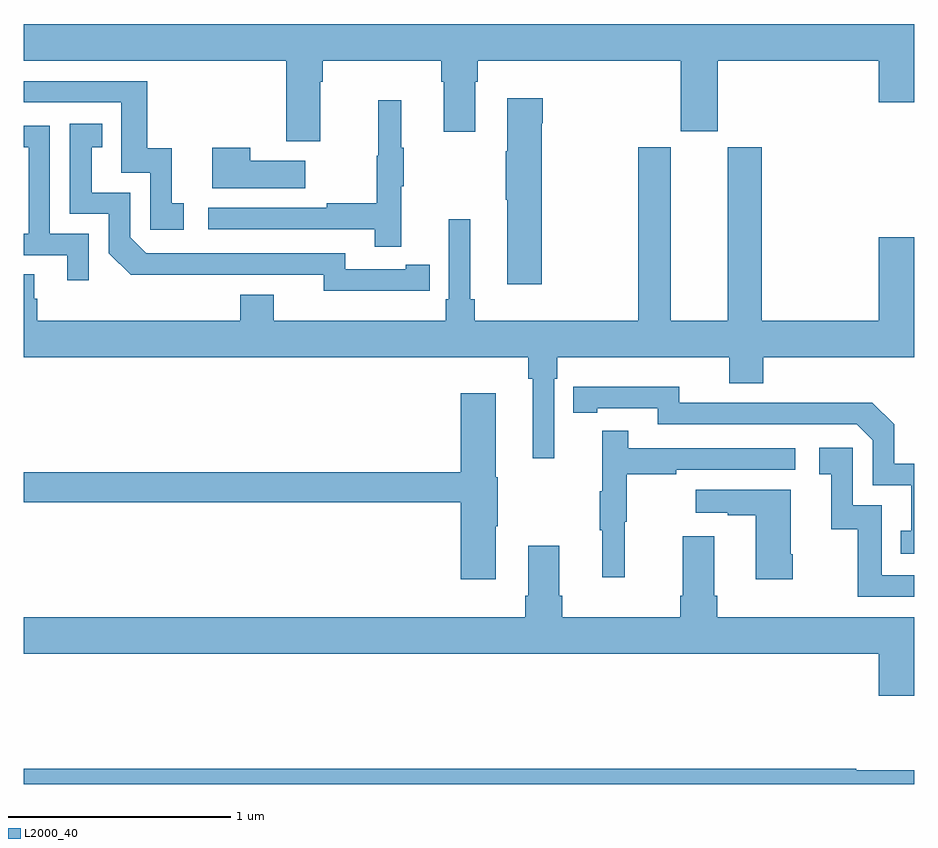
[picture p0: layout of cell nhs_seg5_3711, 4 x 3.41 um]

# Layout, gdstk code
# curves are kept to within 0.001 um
import gdstk
lib = gdstk.Library(unit=1e-6, precision=1e-09)
def P(c, l, *ps):  # polygons
    for p in ps: c.add(gdstk.Polygon(p, *l))
L2000_40 = (2000, 40)

nhs_seg5_3711 = lib.new_cell('nhs_seg5_3711')
P(nhs_seg5_3711, L2000_40, [(330.331,901.952),(330.344,901.952),(330.344,902.048),(330.875,902.048),(330.875,901.952),(330.887,901.952),(330.887,901.728),(331.027,901.728),(331.027,901.952),(331.04,901.952),(331.04,902.048),(331.952,902.048),(331.952,901.731),(332.116,901.731),(332.116,902.048),(332.84,902.048),(332.84,901.86),(333,901.86),(333,902.212),(329,902.212),(329,902.048),(330.179,902.048),(330.179,901.686),(330.331,901.686)],
  [(329.719,901.407),(329.666,901.407),(329.666,901.654),(329.555,901.654),(329.555,901.956),(329,901.956),(329,901.86),(329.439,901.86),(329.439,901.545),(329.568,901.545),(329.568,901.287),(329.719,901.287)],
  [(331.326,901.766),(331.331,901.766),(331.331,901.879),(331.172,901.879),(331.172,901.64),(331.165,901.64),(331.165,901.423),(331.172,901.423),(331.172,901.044),(331.326,901.044)],
  [(330.695,901.483),(330.706,901.483),(330.706,901.657),(330.695,901.657),(330.695,901.87),(330.592,901.87),(330.592,901.62),(330.585,901.62),(330.585,901.406),(330.361,901.406),(330.361,901.386),(329.829,901.386),(329.829,901.29),(330.577,901.29),(330.577,901.212),(330.695,901.212)],
  [(330.716,901.014),(330.824,901.014),(330.824,901.13),(330.716,901.13),(330.716,901.11),(330.444,901.11),(330.444,901.182),(329.55,901.182),(329.478,901.254),(329.478,901.455),(329.305,901.455),(329.305,901.659),(329.354,901.659),(329.354,901.765),(329.208,901.765),(329.208,901.359),(329.382,901.359),(329.382,901.182),(329.48,901.085),(330.348,901.086),(330.348,901.013)],
  [(329.292,901.269),(329.118,901.269),(329.118,901.755),(329,901.755),(329,901.658),(329.022,901.658),(329.022,901.269),(329,901.269),(329,901.173),(329.195,901.173),(329.195,901.062),(329.292,901.062)],
  [(331.383,900.62),(331.397,900.62),(331.397,900.716),(332.168,900.716),(332.168,900.599),(332.321,900.599),(332.321,900.716),(333,900.716),(333,901.255),(332.84,901.255),(332.84,900.88),(332.315,900.88),(332.315,901.659),(332.162,901.659),(332.162,900.88),(331.906,900.88),(331.906,901.659),(331.759,901.659),(331.759,900.88),(331.025,900.88),(331.025,900.976),(331.006,900.976),(331.006,901.336),(330.909,901.336),(330.909,900.976),(330.896,900.976),(330.896,900.88),(330.124,900.88),(330.124,900.997),(329.972,900.997),(329.972,900.88),(329.06,900.88),(329.06,900.978),(329.047,900.978),(329.047,901.088),(329,901.088),(329,900.716),(331.267,900.716),(331.267,900.62),(331.286,900.62),(331.286,900.261),(331.383,900.261)],
  [(330.265,901.597),(330.017,901.597),(330.017,901.657),(329.846,901.657),(329.846,901.475),(330.265,901.475)],
  [(333,900.237),(332.91,900.237),(332.91,900.414),(332.812,900.512),(332.404,900.512),(332.404,900.51),(331.944,900.51),(331.944,900.583),(331.468,900.582),(331.468,900.466),(331.576,900.466),(331.576,900.486),(331.848,900.486),(331.848,900.414),(332.742,900.414),(332.814,900.342),(332.814,900.141),(332.987,900.141),(332.987,899.937),(332.938,899.937),(332.938,899.832),(333,899.832)],
  [(331.12,899.956),(331.128,899.956),(331.128,900.177),(331.12,900.177),(331.12,900.553),(330.962,900.553),(330.962,900.2),(329,900.2),(329,900.064),(330.962,900.064),(330.962,899.718),(331.12,899.718)],
  [(331.7,899.976),(331.708,899.976),(331.708,900.19),(331.931,900.19),(331.931,900.21),(332.464,900.21),(332.464,900.306),(331.715,900.306),(331.715,900.385),(331.598,900.385),(331.598,900.113),(331.587,900.113),(331.587,899.939),(331.598,899.939),(331.598,899.727),(331.7,899.727)],
  [(333,899.736),(332.853,899.736),(332.853,900.051),(332.724,900.051),(332.724,900.31),(332.574,900.31),(332.574,900.189),(332.627,900.189),(332.627,899.943),(332.745,899.943),(332.745,899.64),(333,899.64)],
  [(332.454,899.83),(332.446,899.83),(332.446,900.121),(332.019,900.121),(332.019,900.017),(332.162,900.017),(332.162,900.007),(332.288,900.007),(332.288,899.718),(332.454,899.718)],
  [(333,899.548),(332.114,899.548),(332.114,899.644),(332.101,899.644),(332.101,899.911),(331.961,899.911),(331.961,899.644),(331.949,899.644),(331.949,899.548),(331.418,899.548),(331.418,899.644),(331.405,899.644),(331.405,899.869),(331.265,899.869),(331.265,899.644),(331.253,899.644),(331.253,899.548),(329,899.548),(329,899.384),(332.84,899.384),(332.84,899.196),(333,899.196)],
  [(333,898.861),(332.74,898.861),(332.74,898.868),(329,898.868),(329,898.799),(333,898.799)])

lib.write_gds('nhs_seg5_3711.gds')
